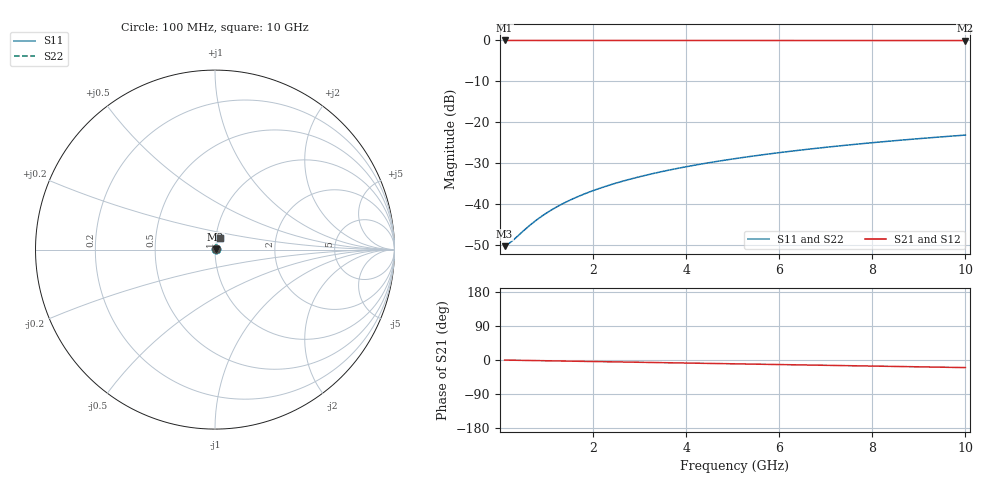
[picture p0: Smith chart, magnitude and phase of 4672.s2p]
# Hz S RI R 50.00
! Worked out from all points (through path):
!   100 points, 100 MHz to 10 GHz, reference 50 ohm
!   highest |S21| = -0.03 dB at 100 MHz (marker M1); lowest = -0.1 dB at 10 GHz (marker M2)
!   group delay of S21, straight-line fit = 5.56 ps
!   lowest |S11| = -50.4 dB at 100 MHz (marker M3), VSWR 1.01, Z = 50.3 + j0.0701 ohm
!   |S11| at or under -10 dB: start of sweep to end of sweep
!   |S22| runs from -50.4 to -23.2 dB; largest |S21 - S12| = 0
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1e8  0.00294 0.000697  0.9971 -0.00348  0.9971 -0.00348  0.00294 0.000697
2e8  0.00297 0.00139  0.997 -0.00696  0.997 -0.00696  0.00297 0.00139
3e8  0.00299 0.00209  0.997 -0.0104  0.997 -0.0104  0.00299 0.00209
5e8  0.00305 0.00348  0.9968 -0.0174  0.9968 -0.0174  0.00305 0.00348
7e8  0.00312 0.00488  0.9967 -0.0244  0.9967 -0.0244  0.00312 0.00488
8e8  0.00317 0.00557  0.9966 -0.0278  0.9966 -0.0278  0.00317 0.00557
1e9  0.00327 0.00696  0.9963 -0.0348  0.9963 -0.0348  0.00327 0.00696
1.2e9  0.00338 0.00835  0.996 -0.0418  0.996 -0.0418  0.00338 0.00835
1.4e9  0.00352 0.00974  0.9957 -0.0487  0.9957 -0.0487  0.00352 0.00974
1.6e9  0.00367 0.0111  0.9953 -0.0557  0.9953 -0.0557  0.00367 0.0111
1.8e9  0.00384 0.0125  0.9948 -0.0626  0.9948 -0.0626  0.00384 0.0125
2.1e9  0.00414 0.0146  0.9941 -0.073  0.9941 -0.073  0.00414 0.0146
2.5e9  0.0046 0.0173  0.9929 -0.0869  0.9929 -0.0869  0.0046 0.0173
2.9e9  0.00513 0.0201  0.9915 -0.1008  0.9915 -0.1008  0.00513 0.0201
3.4e9  0.00591 0.0235  0.9895 -0.1181  0.9895 -0.1181  0.00591 0.0235
4.2e9  0.00739 0.0288  0.9856 -0.1456  0.9856 -0.1456  0.00739 0.0288
5.1e9  0.00941 0.0347  0.9803 -0.1765  0.9803 -0.1765  0.00941 0.0347
5.9e9  0.0115 0.0399  0.9748 -0.2038  0.9748 -0.2038  0.0115 0.0399
6.7e9  0.0139 0.0449  0.9684 -0.2309  0.9684 -0.2309  0.0139 0.0449
7.5e9  0.0166 0.0498  0.9613 -0.2579  0.9613 -0.2579  0.0166 0.0498
8.4e9  0.0199 0.0551  0.9523 -0.2879  0.9523 -0.2879  0.0199 0.0551
1e10  0.0266 0.0639  0.9341 -0.3404  0.9341 -0.3404  0.0266 0.0639
